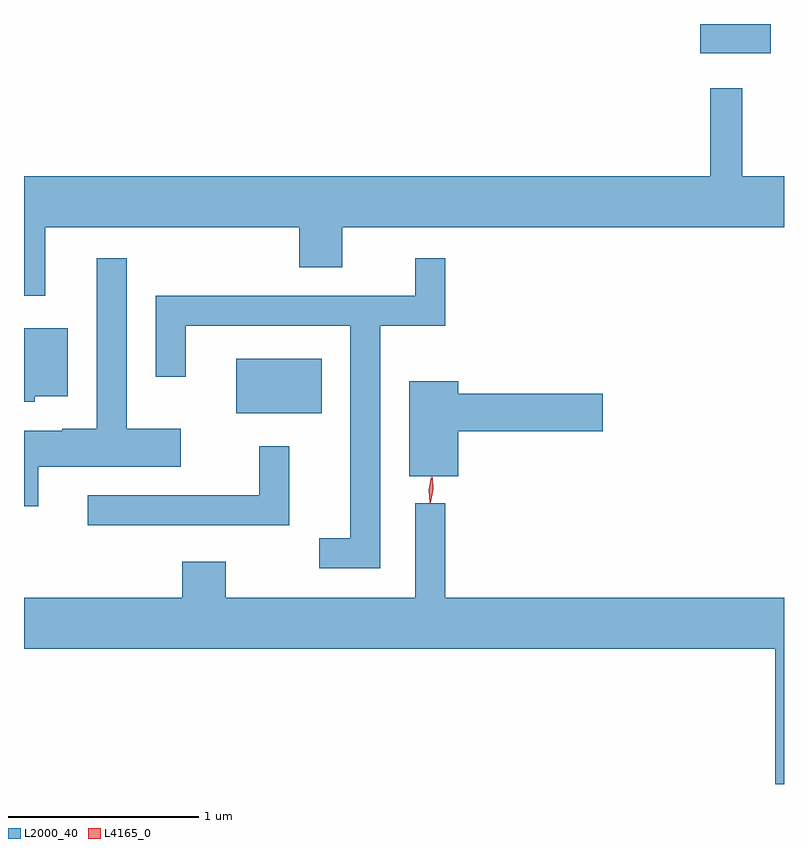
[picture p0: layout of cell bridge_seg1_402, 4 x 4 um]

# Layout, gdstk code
import gdstk
lib = gdstk.Library(unit=1e-6, precision=1e-09)
def R(c, l, rs):  # rectangles x0, y0, x1, y1
    for r in rs: c.add(gdstk.rectangle(r[:2], r[2:], *l))
def P(c, l, *ps):  # polygons
    for p in ps: c.add(gdstk.Polygon(p, *l))
L2000_40 = (2000, 40)
L4165_0 = (4165, 0)

bridge_seg1_402 = lib.new_cell('bridge_seg1_402')
R(bridge_seg1_402, L2000_40, [(608.016,969.636,608.464,969.924), (610.456,971.531,610.829,971.685)])
P(bridge_seg1_402, L2000_40, [(607.009,970.616),(608.346,970.616),(608.346,970.406),(608.574,970.406),(608.574,970.616),(610.898,970.616),(610.898,970.884),(610.679,970.884),(610.679,971.348),(610.511,971.348),(610.511,970.884),(606.898,970.884),(606.898,970.256),(607.009,970.256)],
  [(608.774,970.096),(609.114,970.096),(609.114,970.453),(608.956,970.453),(608.956,970.254),(607.591,970.254),(607.591,969.828),(607.749,969.828),(607.749,970.096),(608.616,970.096),(608.616,968.979),(608.453,968.979),(608.453,968.821),(608.774,968.821)],
  [(606.974,969.356),(607.724,969.356),(607.724,969.554),(607.439,969.554),(607.439,970.453),(607.281,970.453),(607.281,969.554),(607.1,969.554),(607.1,969.544),(606.898,969.544),(606.898,969.148),(606.974,969.148)],
  [(606.954,969.726),(607.129,969.726),(607.129,970.084),(606.898,970.084),(606.898,969.696),(606.954,969.696)],
  [(609.184,969.541),(609.944,969.541),(609.944,969.739),(609.184,969.739),(609.184,969.804),(608.926,969.804),(608.926,969.306),(609.184,969.306)],
  [(608.294,969.463),(608.136,969.463),(608.136,969.204),(607.233,969.204),(607.233,969.046),(608.294,969.046)],
  [(610.898,968.664),(609.114,968.664),(609.114,969.163),(608.956,969.163),(608.956,968.664),(607.959,968.664),(607.959,968.854),(607.731,968.854),(607.731,968.664),(606.898,968.664),(606.898,968.396),(610.851,968.396),(610.851,967.685),(610.898,967.685)])
P(bridge_seg1_402, L4165_0, [(609.035,969.165),(609.034,969.166),(609.028,969.234),(609.041,969.302),(609.042,969.302),(609.042,969.302),(609.048,969.233),(609.035,969.166)],
  [(609.039,969.168),(609.033,969.234),(609.046,969.299),(609.047,969.299),(609.048,969.299),(609.053,969.233),(609.04,969.168),(609.04,969.168)])

lib.write_gds('bridge_seg1_402.gds')
